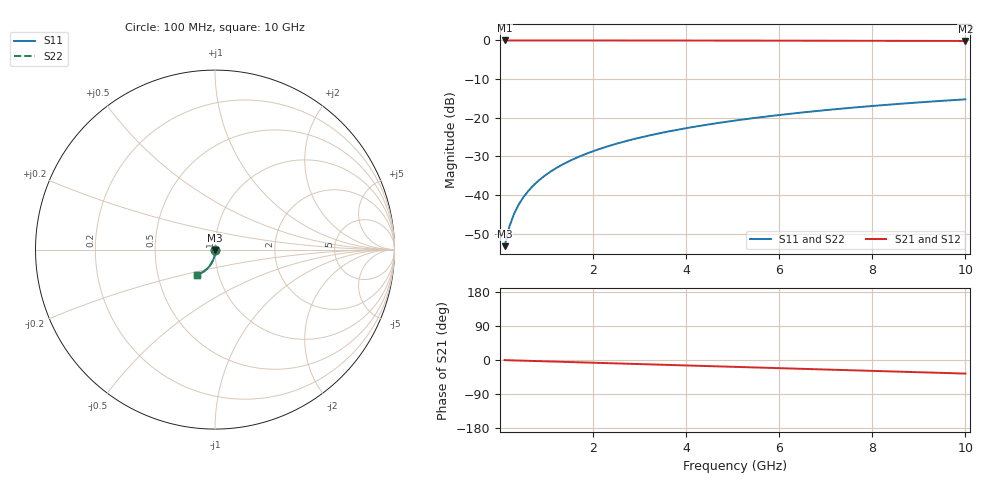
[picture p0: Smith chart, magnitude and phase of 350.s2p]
# Hz S RI R 50.00
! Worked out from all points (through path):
!   100 points, 100 MHz to 10 GHz, reference 50 ohm
!   highest |S21| = -0.01 dB at 100 MHz (marker M1); lowest = -0.1 dB at 10 GHz (marker M2)
!   group delay of S21, straight-line fit = 9.96 ps
!   lowest |S11| = -53.2 dB at 100 MHz (marker M3), VSWR 1.00, Z = 50.1 - j0.185 ohm
!   |S11| at or under -10 dB: start of sweep to end of sweep
!   |S22| runs from -53.2 to -15.3 dB; largest |S21 - S12| = 0
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1e8  0.00115 -0.00185  0.9988 -0.00625  0.9988 -0.00625  0.00115 -0.00185
2e8  0.00112 -0.0037  0.9987 -0.0125  0.9987 -0.0125  0.00112 -0.0037
3e8  0.00106 -0.00555  0.9986 -0.0188  0.9986 -0.0188  0.00106 -0.00555
4e8  0.00098 -0.0074  0.9985 -0.025  0.9985 -0.025  0.00098 -0.0074
5e8  0.000877 -0.00925  0.9983 -0.0313  0.9983 -0.0313  0.000877 -0.00925
6e8  0.000749 -0.0111  0.998 -0.0375  0.998 -0.0375  0.000749 -0.0111
7e8  0.000598 -0.0129  0.9977 -0.0438  0.9977 -0.0438  0.000598 -0.0129
8e8  0.000424 -0.0148  0.9974 -0.05  0.9974 -0.05  0.000424 -0.0148
9e8  0.000227 -0.0166  0.997 -0.0562  0.997 -0.0562  0.000227 -0.0166
1.1e9  -0.000237 -0.0203  0.9962 -0.0687  0.9962 -0.0687  -0.000237 -0.0203
1.4e9  -0.00111 -0.0258  0.9946 -0.0874  0.9946 -0.0874  -0.00111 -0.0258
1.8e9  -0.00259 -0.0331  0.9918 -0.1123  0.9918 -0.1123  -0.00259 -0.0331
2.1e9  -0.00394 -0.0385  0.9893 -0.1309  0.9893 -0.1309  -0.00394 -0.0385
2.5e9  -0.00605 -0.0456  0.9854 -0.1556  0.9854 -0.1556  -0.00605 -0.0456
2.9e9  -0.00852 -0.0526  0.9808 -0.1802  0.9808 -0.1802  -0.00852 -0.0526
3.4e9  -0.0121 -0.0612  0.9741 -0.2107  0.9741 -0.2107  -0.0121 -0.0612
4.2e9  -0.0189 -0.0744  0.9613 -0.259  0.9613 -0.259  -0.0189 -0.0744
5.1e9  -0.0281 -0.0883  0.9439 -0.3124  0.9439 -0.3124  -0.0281 -0.0883
5.9e9  -0.0376 -0.0998  0.9257 -0.3587  0.9257 -0.3587  -0.0376 -0.0998
6.7e9  -0.0481 -0.1103  0.9051 -0.4039  0.9051 -0.4039  -0.0481 -0.1103
8.4e9  -0.0735 -0.1287  0.8538 -0.4956  0.8538 -0.4956  -0.0735 -0.1287
1e10  -0.1004 -0.1406  0.797 -0.5757  0.797 -0.5757  -0.1004 -0.1406
